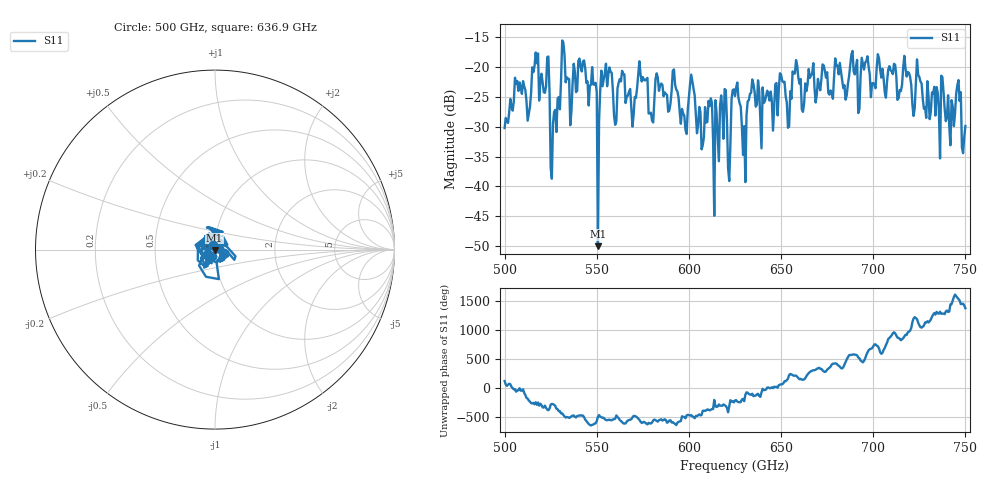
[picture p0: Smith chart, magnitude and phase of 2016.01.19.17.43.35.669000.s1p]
!Created with skrf (http://scikit-rf.org).
# GHz S RI R 50.0
!freq ReS11 ImS11
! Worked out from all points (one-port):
!   401 points, 500 GHz to 750 GHz, reference 50 ohm
!   lowest |S11| = -50.0 dB at 550.6 GHz (marker M1), VSWR 1.01, Z = 49.7 - j0.193 ohm
!   |S11| at or under -10 dB: start of sweep to end of sweep
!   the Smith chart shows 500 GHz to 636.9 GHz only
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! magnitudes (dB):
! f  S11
! 500 GHz  -30.2
! 506.9 GHz  -22.4
! 513.1 GHz  -27.8
! 516.9 GHz  -17.6
! 523.1 GHz  -18.4
! 526.2 GHz  -29.5
! 531.2 GHz  -15.6
! 548.8 GHz  -23.0
! 550.6 GHz  -50.0
! 553.8 GHz  -22.2
! 560 GHz  -29.7
! 562.5 GHz  -22.0
! 574.4 GHz  -22.5
! 579.4 GHz  -27.7
! 593.8 GHz  -24.1
! 611.2 GHz  -26.6
! 615 GHz  -27.7
! 618.8 GHz  -32.0
! 621.9 GHz  -39.1
! 625 GHz  -24.9
! 630 GHz  -29.9
! 634.4 GHz  -22.1
! 656.2 GHz  -20.8
! 687.5 GHz  -19.9
! 718.8 GHz  -20.9
! 740.6 GHz  -24.8
! 746.2 GHz  -22.2
! 750 GHz  -29.9
